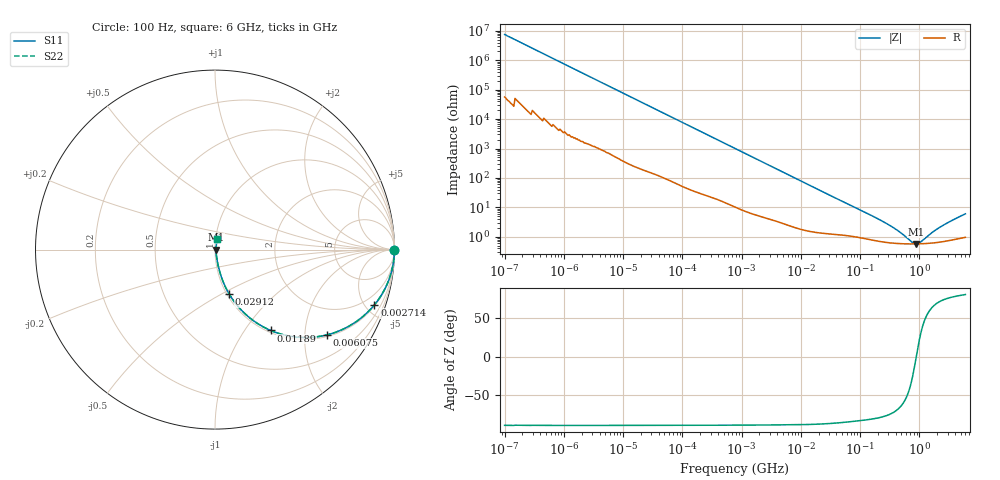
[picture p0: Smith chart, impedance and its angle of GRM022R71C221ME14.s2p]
!Murata Part Number: GRM022R71C221ME14
!These Parameters are Measured in Series Mode Connection
!Data Generated on Mar 30, 2021
!  o--ll--o
!Port1  Port2
!  o------o
!Operation Temp=25[degC], DC Bias Voltage=0[V]
!Freq. Start=100[Hz] Stop=6[GHz] 401[Steps]
# Hz S RI R 50
!Freq.(Hz) S11(Real) S11(Imag) S21(Real) S21(Imag) S12(Real) S12(Imag) S22(Real) S22(Imag)
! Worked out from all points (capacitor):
!   401 points, 100 Hz to 6 GHz, reference 50 ohm
!   read as one part in series: C = 212 pF near 109 Hz
!   lowest |Z| = 574 mohm at 875 MHz (marker M1)
!   series resonance near 890 MHz, so ESL is about 150 pH
!   S11 on the Smith chart (normalised r, x): 100 Hz: open; 2.714 MHz: 1.08, -5.75; 6.075 MHz: 1.05, -2.59; 11.89 MHz: 1.03, -1.33; 29.12 MHz: 1.03, -0.55; 6 GHz: 1.02, +0.12
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100  1 -1.33e-05  1e-07 1.33e-05  1e-07 1.33e-05  1 -1.33e-05
717  1 -9.51e-05  5e-07 9.51e-05  5e-07 9.51e-05  1 -9.51e-05
2008  1 -0.000266  1.3e-06 0.000266  1.3e-06 0.000266  1 -0.000266
40335  0.9999 -0.00529  6.06e-05 0.00529  6.06e-05 0.00529  0.9999 -0.00529
241822  0.9988 -0.0314  0.00125 0.0314  0.00125 0.0314  0.9988 -0.0314
774597  0.9891 -0.0989  0.0109 0.0989  0.0109 0.0989  0.9891 -0.0989
1585629  0.9579 -0.195  0.0421 0.195  0.0421 0.195  0.9579 -0.195
2713602  0.8885 -0.3075  0.1115 0.3075  0.1115 0.3075  0.8885 -0.3075
4060267  0.7841 -0.4031  0.2159 0.4031  0.2159 0.4031  0.7841 -0.4031
6075234  0.6236 -0.4751  0.3764 0.4751  0.3764 0.4751  0.6236 -0.4751
1.189169e7  0.3103 -0.4505  0.6897 0.4505  0.6897 0.4505  0.3103 -0.4505
1.555665e7  0.2121 -0.3946  0.7879 0.3946  0.7879 0.3946  0.2121 -0.3946
2.911731e7  0.0792 -0.248  0.9208 0.248  0.9208 0.248  0.0792 -0.248
7.797396e7  0.0204 -0.1006  0.9796 0.1006  0.9796 0.1006  0.0204 -0.1006
3.124326e8  0.00677 -0.0237  0.9932 0.0237  0.9932 0.0237  0.00677 -0.0237
4.674818e8  0.00599 -0.0132  0.994 0.0132  0.994 0.0132  0.00599 -0.0132
7.650043e8  0.00569 -0.00291  0.9943 0.00291  0.9943 0.00291  0.00569 -0.00291
8.749838e8  0.0057 -0.000322  0.9943 0.000322  0.9943 0.000322  0.0057 -0.000322
1.046602e9  0.00576 0.00312  0.9942 -0.00312  0.9942 -0.00312  0.00576 0.00312
1.637704e9  0.00623 0.0123  0.9938 -0.0123  0.9938 -0.0123  0.00623 0.0123
2.450438e9  0.00723 0.0224  0.9928 -0.0224  0.9928 -0.0224  0.00723 0.0224
6e9  0.0129 0.0583  0.9871 -0.0583  0.9871 -0.0583  0.0129 0.0583
